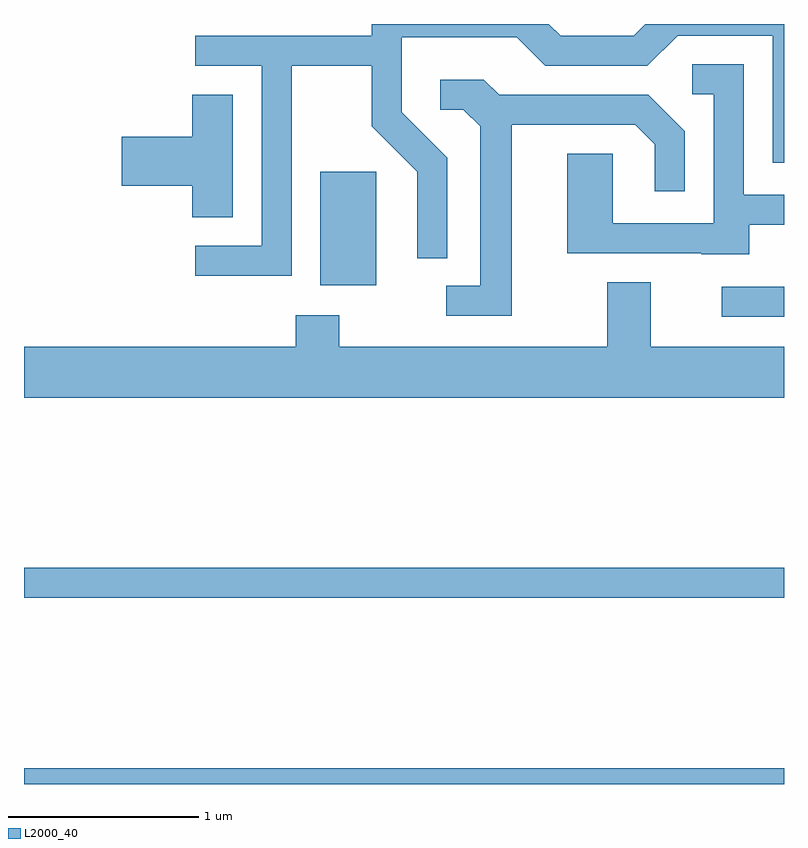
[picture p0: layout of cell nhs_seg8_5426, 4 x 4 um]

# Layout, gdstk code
import gdstk
lib = gdstk.Library(unit=1e-6, precision=1e-09)
def R(c, l, rs):  # rectangles x0, y0, x1, y1
    for r in rs: c.add(gdstk.rectangle(r[:2], r[2:], *l))
def P(c, l, *ps):  # polygons
    for p in ps: c.add(gdstk.Polygon(p, *l))
L2000_40 = (2000, 40)

nhs_seg8_5426 = lib.new_cell('nhs_seg8_5426')
R(nhs_seg8_5426, L2000_40, [(347.611,1874.342,351.611,1874.424), (347.611,1875.321,351.611,1875.479), (351.283,1876.801,351.611,1876.959), (349.171,1876.966,349.464,1877.564)])
P(nhs_seg8_5426, L2000_40, [(349.019,1878.121),(349.441,1878.121),(349.441,1877.804),(349.681,1877.564),(349.681,1877.108),(349.839,1877.108),(349.839,1877.637),(349.599,1877.877),(349.599,1878.271),(350.204,1878.271),(350.354,1878.121),(350.892,1878.121),(351.052,1878.281),(351.551,1878.281),(351.551,1877.611),(351.611,1877.611),(351.611,1878.342),(350.882,1878.342),(350.819,1878.279),(350.437,1878.279),(350.374,1878.342),(349.441,1878.342),(349.441,1878.279),(348.513,1878.279),(348.513,1878.121),(348.861,1878.121),(348.861,1877.174),(348.513,1877.174),(348.513,1877.016),(349.019,1877.016)],
  [(351.429,1877.286),(351.611,1877.286),(351.611,1877.444),(351.399,1877.444),(351.399,1878.129),(351.128,1878.129),(351.128,1877.971),(351.241,1877.971),(351.241,1877.294),(350.709,1877.294),(350.709,1877.659),(350.471,1877.659),(350.471,1877.136),(351.175,1877.136),(351.175,1877.131),(351.429,1877.131)],
  [(350.179,1877.811),(350.829,1877.811),(350.931,1877.709),(350.931,1877.463),(351.089,1877.463),(351.089,1877.777),(350.897,1877.969),(350.112,1877.969),(350.032,1878.049),(349.803,1878.049),(349.803,1877.891),(349.924,1877.891),(350.011,1877.804),(350.011,1876.964),(349.833,1876.964),(349.833,1876.806),(350.179,1876.806)],
  [(348.709,1877.969),(348.496,1877.969),(348.496,1877.749),(348.126,1877.749),(348.126,1877.491),(348.496,1877.491),(348.496,1877.326),(348.709,1877.326)],
  [(351.611,1876.644),(350.909,1876.644),(350.909,1876.984),(350.681,1876.984),(350.681,1876.644),(349.269,1876.644),(349.269,1876.809),(349.041,1876.809),(349.041,1876.644),(347.611,1876.644),(347.611,1876.376),(351.611,1876.376)])

lib.write_gds('nhs_seg8_5426.gds')
